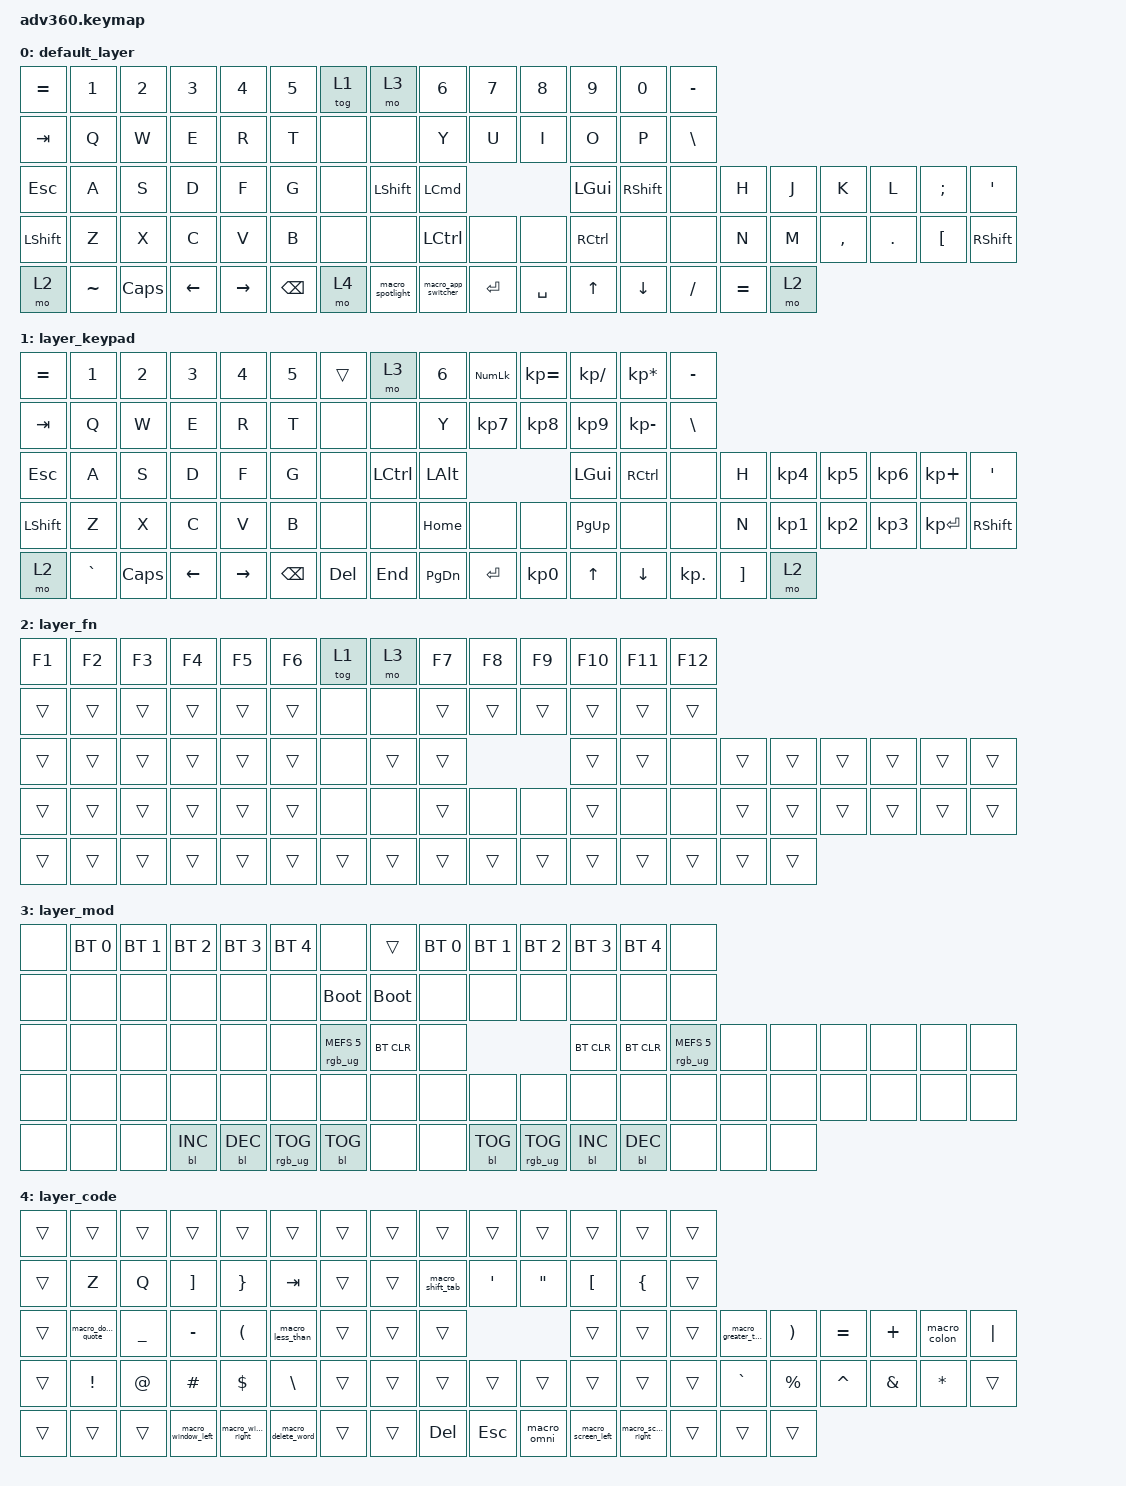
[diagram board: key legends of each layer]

/*
 * Copyright (c) 2020 The ZMK Contributors
 *
 * SPDX-License-Identifier: MIT
 */


/* THIS FILE WAS GENERATED!
 *
 * This file was generated automatically. You may or may not want to
 * edit it directly.
 */

#include <behaviors.dtsi>
#include <dt-bindings/zmk/keys.h>
#include <dt-bindings/zmk/bt.h>
#include <dt-bindings/zmk/rgb.h>
#include <dt-bindings/zmk/backlight.h>

/ {
  behaviors {
    #include "macros.dtsi"

    hm: homerow_mods {
        compatible = "zmk,behavior-hold-tap";
        label = "HOMEROW_MODS";
        #binding-cells = <2>;
        tapping-term-ms = <200>;
        quick_tap_ms = <175>;
        flavor = "tap-preferred";
        bindings = <&kp>, <&kp>;
    };
  };

    keymap {
        compatible = "zmk,keymap";


        default_layer {
            bindings = <
  &kp EQUAL     &kp N1    &kp N2    &kp N3     &kp N4    &kp N5            &tog 1             &mo 3               &kp N6     &kp N7     &kp N8             &kp N9           &kp N0  &kp MINUS
    &kp TAB      &kp Q     &kp W     &kp E      &kp R     &kp T             &none             &none                &kp Y      &kp U      &kp I              &kp O            &kp P   &kp BSLH
    &kp ESC      &kp A     &kp S     &kp D      &kp F     &kp G             &none    &kp LEFT_SHIFT     &kp LEFT_COMMAND                                 &kp LGUI  &kp RIGHT_SHIFT      &none      &kp H   &kp J      &kp K    &kp L          &kp SEMI    &kp SQT
 &kp LSHIFT      &kp Z     &kp X     &kp C      &kp V     &kp B             &none             &none     &kp LEFT_CONTROL      &none      &none  &kp RIGHT_CONTROL            &none      &none      &kp N   &kp M  &kp COMMA  &kp DOT  &kp LEFT_BRACKET  &kp RSHFT
      &mo 2  &kp TILDE  &kp CAPS  &kp LEFT  &kp RIGHT  &kp BSPC             &mo 4  &macro_spotlight  &macro_app_switcher  &kp ENTER  &kp SPACE             &kp UP         &kp DOWN  &kp SLASH  &kp EQUAL   &mo 2
            >;
        };

        layer_keypad {
            bindings = <
 &kp EQUAL     &kp N1    &kp N2    &kp N3     &kp N4    &kp N5             &trans      &mo 3     &kp N6  &kp KP_NUM  &kp KP_EQUAL  &kp KP_DIVIDE  &kp KP_MULTIPLY   &kp MINUS
   &kp TAB      &kp Q     &kp W     &kp E      &kp R     &kp T              &none      &none      &kp Y   &kp KP_N7     &kp KP_N8      &kp KP_N9     &kp KP_MINUS    &kp BSLH
   &kp ESC      &kp A     &kp S     &kp D      &kp F     &kp G              &none  &kp LCTRL   &kp LALT                                 &kp LGUI        &kp RCTRL       &none     &kp H  &kp KP_N4  &kp KP_N5  &kp KP_N6   &kp KP_PLUS    &kp SQT
 &kp LSHFT      &kp Z     &kp X     &kp C      &kp V     &kp B              &none      &none   &kp HOME       &none         &none      &kp PG_UP            &none       &none     &kp N  &kp KP_N1  &kp KP_N2  &kp KP_N3  &kp KP_ENTER  &kp RSHFT
     &mo 2  &kp GRAVE  &kp CAPS  &kp LEFT  &kp RIGHT  &kp BSPC            &kp DEL    &kp END  &kp PG_DN   &kp ENTER     &kp KP_N0         &kp UP         &kp DOWN  &kp KP_DOT  &kp RBKT      &mo 2
            >;
        };

        layer_fn {
            bindings = <
 &kp F1  &kp F2  &kp F3  &kp F4  &kp F5  &kp F6            &tog 1   &mo 3  &kp F7  &kp F8  &kp F9  &kp F10  &kp F11  &kp F12
 &trans  &trans  &trans  &trans  &trans  &trans             &none   &none  &trans  &trans  &trans   &trans   &trans   &trans
 &trans  &trans  &trans  &trans  &trans  &trans             &none  &trans  &trans                   &trans   &trans    &none  &trans  &trans  &trans  &trans  &trans  &trans
 &trans  &trans  &trans  &trans  &trans  &trans             &none   &none  &trans   &none   &none   &trans    &none    &none  &trans  &trans  &trans  &trans  &trans  &trans
 &trans  &trans  &trans  &trans  &trans  &trans            &trans  &trans  &trans  &trans  &trans   &trans   &trans   &trans  &trans  &trans
            >;
        };

        layer_mod {
            bindings = <
  &none  &bt BT_SEL 0  &bt BT_SEL 1  &bt BT_SEL 2  &bt BT_SEL 3     &bt BT_SEL 4                             &none       &trans  &bt BT_SEL 0  &bt BT_SEL 1     &bt BT_SEL 2  &bt BT_SEL 3  &bt BT_SEL 4                   &none
  &none         &none         &none         &none         &none            &none                       &bootloader  &bootloader         &none         &none            &none         &none         &none                   &none
  &none         &none         &none         &none         &none            &none            &rgb_ug RGB_MEFS_CMD 5   &bt BT_CLR         &none                                   &bt BT_CLR    &bt BT_CLR  &rgb_ug RGB_MEFS_CMD 5   &none   &none   &none   &none   &none   &none
  &none         &none         &none         &none         &none            &none                             &none        &none         &none         &none            &none         &none         &none                   &none   &none   &none   &none   &none   &none   &none
  &none         &none         &none    &bl BL_INC    &bl BL_DEC  &rgb_ug RGB_TOG                        &bl BL_TOG        &none         &none    &bl BL_TOG  &rgb_ug RGB_TOG    &bl BL_INC    &bl BL_DEC                   &none   &none   &none
            >;
        };

        layer_code {
            bindings = <
 &trans               &trans       &trans              &trans                &trans              &trans            &trans  &trans            &trans            &trans             &trans              &trans               &trans  &trans
 &trans                &kp Z        &kp Q   &kp RIGHT_BRACKET       &kp RIGHT_BRACE             &kp TAB            &trans  &trans  &macro_shift_tab  &kp SINGLE_QUOTE  &kp DOUBLE_QUOTES    &kp LEFT_BRACKET       &kp LEFT_BRACE  &trans
 &trans  &macro_double_quote    &kp UNDER           &kp MINUS  &kp LEFT_PARENTHESIS    &macro_less_than            &trans  &trans            &trans                                                   &trans               &trans  &trans  &macro_greater_than  &kp RIGHT_PARENTHESIS  &kp EQUAL       &kp PLUS  &macro_colon  &kp PIPE
 &trans      &kp EXCLAMATION  &kp AT_SIGN           &kp POUND            &kp DOLLAR       &kp BACKSLASH            &trans  &trans            &trans            &trans             &trans              &trans               &trans  &trans            &kp GRAVE            &kp PERCENT  &kp CARET  &kp AMPERSAND  &kp ASTERISK    &trans
 &trans               &trans       &trans  &macro_window_left   &macro_window_right  &macro_delete_word            &trans  &trans        &kp DELETE        &kp ESCAPE        &macro_omni  &macro_screen_left  &macro_screen_right  &trans               &trans                 &trans
            >;
        };

    };
};
